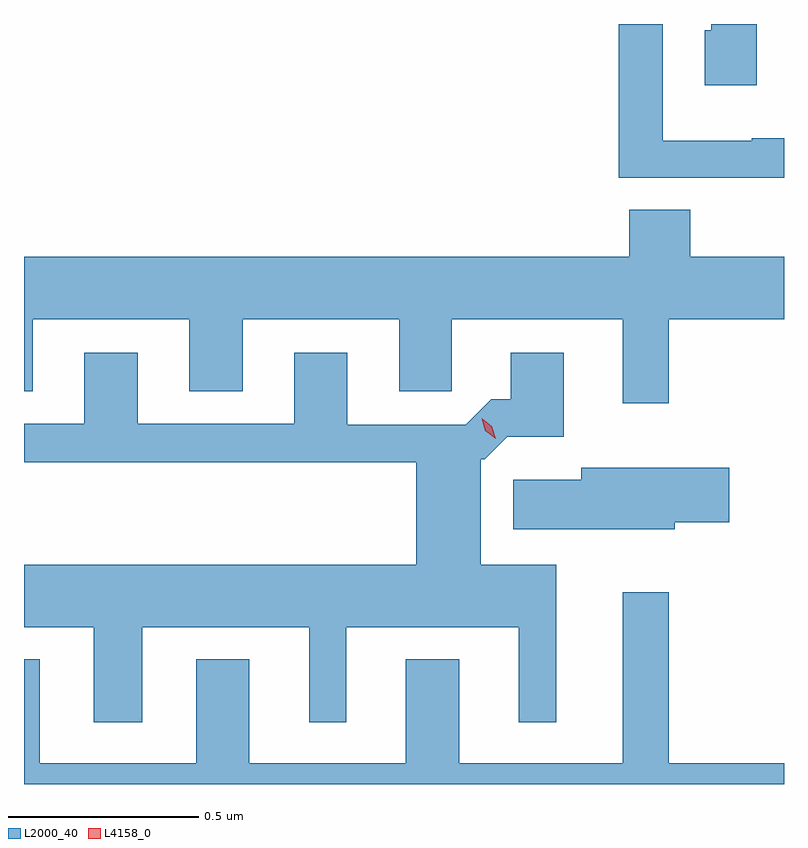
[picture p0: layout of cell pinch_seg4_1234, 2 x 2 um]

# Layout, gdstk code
import gdstk
lib = gdstk.Library(unit=1e-6, precision=1e-09)
def P(c, l, *ps):  # polygons
    for p in ps: c.add(gdstk.Polygon(p, *l))
L2000_40 = (2000, 40)
L4158_0 = (4158, 0)

pinch_seg4_1234 = lib.new_cell('pinch_seg4_1234')
P(pinch_seg4_1234, L2000_40, [(349.072,806.921),(348.953,806.921),(348.953,806.904),(348.935,806.904),(348.935,806.76),(349.072,806.76)],
  [(349.144,806.62),(349.059,806.62),(349.059,806.614),(348.825,806.614),(348.825,806.921),(348.709,806.921),(348.709,806.517),(348.959,806.517),(348.959,806.516),(349.144,806.516)],
  [(348.841,806.144),(349.144,806.144),(349.144,806.308),(348.897,806.308),(348.897,806.432),(348.737,806.432),(348.737,806.308),(347.144,806.308),(347.144,805.954),(347.167,805.954),(347.167,806.144),(347.579,806.144),(347.579,805.954),(347.719,805.954),(347.719,806.144),(348.131,806.144),(348.131,805.954),(348.27,805.954),(348.27,806.144),(348.719,806.144),(348.719,805.923),(348.841,805.923)],
  [(347.455,805.334),(347.894,805.334),(347.894,805.083),(347.992,805.083),(347.992,805.334),(348.446,805.334),(348.446,805.083),(348.544,805.083),(348.544,805.498),(348.346,805.498),(348.346,805.776),(348.357,805.776),(348.416,805.835),(348.565,805.835),(348.565,806.056),(348.425,806.056),(348.425,805.933),(348.373,805.933),(348.306,805.866),(347.995,805.866),(347.995,806.056),(347.855,806.056),(347.855,805.869),(347.443,805.869),(347.443,806.056),(347.303,806.056),(347.303,805.869),(347.144,805.869),(347.144,805.768),(348.176,805.768),(348.176,805.498),(347.144,805.498),(347.144,805.334),(347.327,805.334),(347.327,805.083),(347.455,805.083)],
  [(348.856,805.61),(349,805.61),(349,805.753),(348.611,805.753),(348.611,805.722),(348.431,805.722),(348.431,805.592),(348.856,805.592)],
  [(349.144,804.976),(348.841,804.976),(348.841,805.426),(348.719,805.426),(348.719,804.976),(348.289,804.976),(348.289,805.249),(348.149,805.249),(348.149,804.976),(347.737,804.976),(347.737,805.249),(347.597,805.249),(347.597,804.976),(347.185,804.976),(347.185,805.249),(347.144,805.249),(347.144,804.921),(349.144,804.921)])
P(pinch_seg4_1234, L4158_0, [(348.385,805.83),(348.358,805.851),(348.348,805.883),(348.348,805.883),(348.348,805.883),(348.375,805.862),(348.385,805.83),(348.385,805.83)])

lib.write_gds('pinch_seg4_1234.gds')
